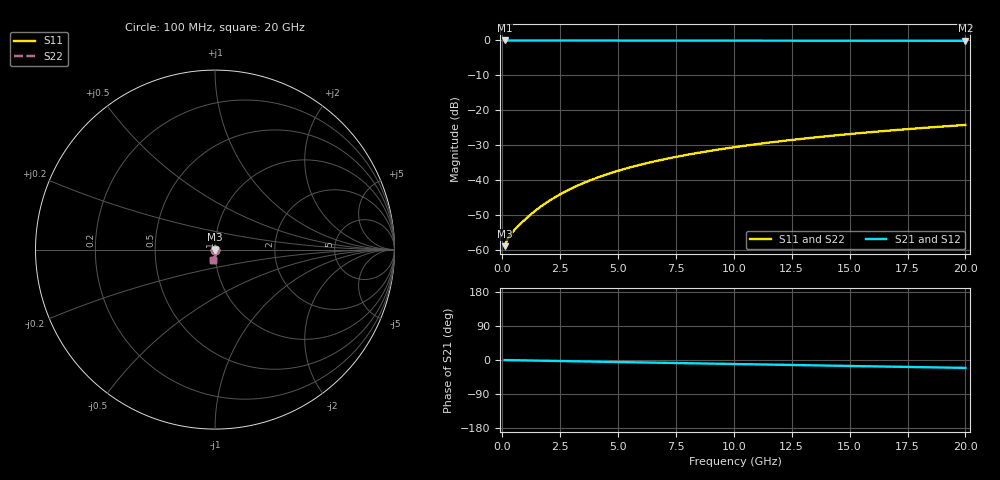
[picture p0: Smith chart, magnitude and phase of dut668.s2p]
! Touchstone file exported from HFSS 2026.1.0
!  File:  C:/ffzhzh/LocalFiles/Ansys_Project_Files/temp_train_BSMRDL_668_1783017298_51716.aedt
!  Generated:  02:36:12 AM Jul  3, 2026
!  Design:  BSMRDL
!  Project:  temp_train_BSMRDL_668_1783017298_51716
! Variables:
!  h_bsmrdl = 5.57um
!  h_ox = 20um
!  h_rdl = 5um
!  h_sub = 80um
!  h_tmrdl = 5um
!  h_tsv = 80um
!  h_via = 3um
!  l_bsmrdl = 363.69um
!  l_sub = 763.69um
!  l_tmrdl = 200um
!  m_sub = 200um
!  pitch = 31.11um
!  r_tsv = 6um
!  s_tmrdl = 10um
!  w_bsmrdl = 27.35um
!  w_sub = 500um
!  w_tmrdl = 12um
!  x_tsv_center1 = 206um
!  x_tsv_center2 = 597.04um
!  x_tsv_center3 = 809.04um
!  x_tsv_center4 = 1200.08um
!  x_tsv_center5 = 1412.08um
!  x_tsv_center6 = 1803.12um
# GHz S MA R 50.000000
! Terminal data exported
! Port[1] = BSM_RDL1_1_T1
! Port[2] = BSM_RDL1_1_T2
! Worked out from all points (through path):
!   200 points, 100 MHz to 20 GHz, reference 50 ohm
!   highest |S21| = -0.01 dB at 100 MHz (marker M1); lowest = -0.1 dB at 20 GHz (marker M2)
!   group delay of S21, straight-line fit = 2.88 ps
!   lowest |S11| = -59.0 dB at 100 MHz (marker M3), VSWR 1.00, Z = 50.1 + j0.0122 ohm
!   |S11| at or under -10 dB: start of sweep to end of sweep
!   |S22| runs from -59.0 to -24.2 dB; largest |S21 - S12| = 1.7e-14
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0.1  0.001124 6.2  0.9989 -0.1  0.9989 -0.1  0.001124 6.2
! Gamma 0 0 0 0
! Port Impedance 50 0 50 0
0.2  0.001363 1.6  0.9986 -0.2  0.9986 -0.2  0.001363 1.6
0.3  0.001559 -6.4  0.9984 -0.4  0.9984 -0.4  0.001559 -6.4
0.4  0.001724 -14.1  0.9983 -0.5  0.9983 -0.5  0.001724 -14.1
0.6  0.002037 -26.8  0.9981 -0.7  0.9981 -0.7  0.002038 -26.8
0.9  0.002553 -39.7  0.998 -1.0  0.998 -1.0  0.002553 -39.7
1.4  0.003559 -51.9  0.9977 -1.6  0.9977 -1.6  0.003559 -51.9
1.9  0.004708 -58.6  0.9974 -2.1  0.9974 -2.1  0.004708 -58.6
2.4  0.005966 -62.8  0.997 -2.6  0.997 -2.6  0.005966 -62.8
2.9  0.007309 -65.9  0.9966 -3.2  0.9966 -3.2  0.007309 -65.9
3.5  0.009009 -68.8  0.9962 -3.8  0.9962 -3.8  0.009009 -68.8
4.2  0.01108 -71.6  0.9956 -4.5  0.9956 -4.5  0.01108 -71.6
5  0.01352 -74.4  0.9951 -5.4  0.9951 -5.4  0.01352 -74.4
5.9  0.01633 -77.0  0.9945 -6.3  0.9945 -6.3  0.01633 -77.0
6.8  0.01918 -79.4  0.9939 -7.3  0.9939 -7.3  0.01918 -79.4
8.3  0.02396 -82.8  0.9931 -8.8  0.9931 -8.8  0.02396 -82.8
10.1  0.02974 -86.3  0.9921 -10.7  0.9921 -10.7  0.02974 -86.3
11.7  0.0349 -89.1  0.9913 -12.3  0.9913 -12.3  0.03489 -89.1
13.4  0.04037 -91.8  0.9905 -14.1  0.9905 -14.1  0.04037 -91.8
15  0.04552 -94.1  0.9897 -15.7  0.9897 -15.7  0.04552 -94.1
16.7  0.05097 -96.5  0.9888 -17.5  0.9888 -17.5  0.05097 -96.5
20  0.06147 -100.9  0.9871 -20.9  0.9871 -20.9  0.06147 -100.9
